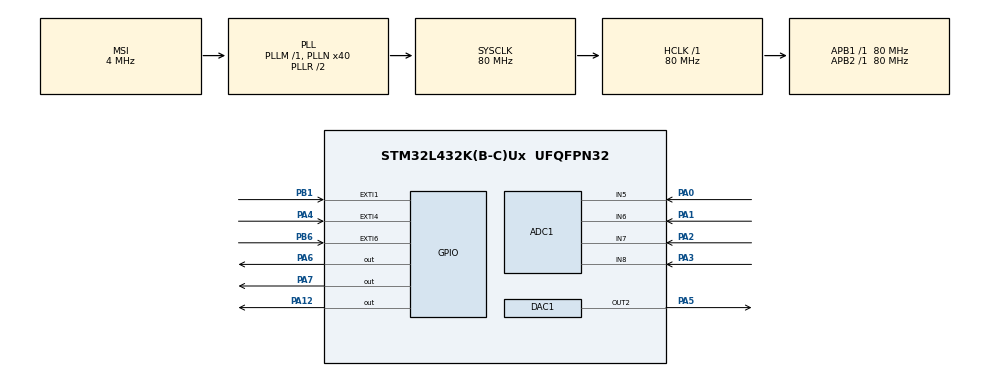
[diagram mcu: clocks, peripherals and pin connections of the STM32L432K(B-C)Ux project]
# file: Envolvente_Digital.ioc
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ADC1.Channel-1\#ChannelRegularConversion=ADC_CHANNEL_5
ADC1.Channel-3\#ChannelRegularConversion=ADC_CHANNEL_6
ADC1.Channel-4\#ChannelRegularConversion=ADC_CHANNEL_7
ADC1.Channel-5\#ChannelRegularConversion=ADC_CHANNEL_8
ADC1.ContinuousConvMode=DISABLE
ADC1.DMAContinuousRequests=DISABLE
ADC1.EOCSelection=ADC_EOC_SEQ_CONV
ADC1.NbrOfConversion=4
ADC1.NbrOfConversionFlag=1
ADC1.OffsetNumber-3\#ChannelRegularConversion=ADC_OFFSET_NONE
ADC1.OffsetNumber-4\#ChannelRegularConversion=ADC_OFFSET_NONE
ADC1.OffsetNumber-5\#ChannelRegularConversion=ADC_OFFSET_NONE
ADC1.Rank-3\#ChannelRegularConversion=2
ADC1.Rank-4\#ChannelRegularConversion=3
ADC1.Rank-5\#ChannelRegularConversion=4
ADC1.SamplingTime-3\#ChannelRegularConversion=ADC_SAMPLETIME_2CYCLES_5
ADC1.SamplingTime-4\#ChannelRegularConversion=ADC_SAMPLETIME_2CYCLES_5
ADC1.SamplingTime-5\#ChannelRegularConversion=ADC_SAMPLETIME_2CYCLES_5
ADC1.master=1
DAC1.DAC_Channel-DAC_OUT2=DAC_CHANNEL_2
Dma.ADC1.0.Direction=DMA_PERIPH_TO_MEMORY
Dma.ADC1.0.Instance=DMA1_Channel1
Dma.ADC1.0.MemDataAlignment=DMA_MDATAALIGN_HALFWORD
Dma.ADC1.0.MemInc=DMA_MINC_ENABLE
Dma.ADC1.0.Mode=DMA_CIRCULAR
Dma.ADC1.0.PeriphDataAlignment=DMA_PDATAALIGN_HALFWORD
Dma.ADC1.0.PeriphInc=DMA_PINC_DISABLE
Dma.ADC1.0.Priority=DMA_PRIORITY_LOW
Dma.Request0=ADC1
Mcu.Family=STM32L4
Mcu.Name=STM32L432K(B-C)Ux
Mcu.Package=UFQFPN32
NVIC.DMA1_Channel1_IRQn=true\:0\:0\:false\:false\:true\:false\:true\:true
NVIC.EXTI1_IRQn=true\:1\:0\:true\:false\:true\:true\:true\:true
NVIC.EXTI4_IRQn=true\:1\:0\:true\:false\:true\:true\:true\:true
NVIC.EXTI9_5_IRQn=true\:1\:0\:true\:false\:true\:true\:true\:true
NVIC.PriorityGroup=NVIC_PRIORITYGROUP_4
NVIC.TIM1_UP_TIM16_IRQn=true\:0\:0\:false\:false\:true\:true\:true\:true
PA0.Signal=ADCx_IN5
PA1.Signal=ADCx_IN6
PA12.Signal=GPIO_Output
PA2.Signal=ADCx_IN7
PA3.Signal=ADCx_IN8
PA4.GPIO_ModeDefaultEXTI=GPIO_MODE_IT_RISING_FALLING
PA4.GPIO_PuPd=GPIO_PULLDOWN
PA4.Signal=GPXTI4
PA5.Signal=COMP_DAC12_group
PA6.Signal=GPIO_Output
PA7.Signal=GPIO_Output
PB1.GPIO_ModeDefaultEXTI=GPIO_MODE_IT_RISING_FALLING
PB1.GPIO_PuPd=GPIO_PULLDOWN
PB1.Signal=GPXTI1
PB6.GPIO_ModeDefaultEXTI=GPIO_MODE_IT_RISING_FALLING
PB6.GPIO_PuPd=GPIO_PULLDOWN
PB6.Signal=GPXTI6
ProjectManager.HeapSize=0x200
ProjectManager.StackSize=0x400
ProjectManager.TargetToolchain=STM32CubeIDE
RCC.ADCFreq_Value=32000000
RCC.AHBFreq_Value=80000000
RCC.APB1Freq_Value=80000000
RCC.APB1TimFreq_Value=80000000
RCC.APB2Freq_Value=80000000
RCC.APB2TimFreq_Value=80000000
RCC.CortexFreq_Value=80000000
RCC.HCLKFreq_Value=80000000
RCC.HSE_VALUE=8000000
RCC.HSI48_VALUE=48000000
RCC.HSI_VALUE=16000000
RCC.LSE_VALUE=32768
RCC.MSI_VALUE=4000000
RCC.PLLN=40
RCC.PLLSAI1N=16
RCC.SYSCLKFreq_VALUE=80000000
RCC.SYSCLKSource=RCC_SYSCLKSOURCE_PLLCLK
RCC.USBFreq_Value=32000000
RCC.VCOOutputFreq_Value=160000000
SH.ADCx_IN5.0=ADC1_IN5,IN5-Single-Ended
SH.ADCx_IN6.0=ADC1_IN6,IN6-Single-Ended
SH.ADCx_IN7.0=ADC1_IN7,IN7-Single-Ended
SH.ADCx_IN8.0=ADC1_IN8,IN8-Single-Ended
SH.COMP_DAC12_group.0=DAC1_OUT2,DAC_OUT2
TIM1.Period=1000-1
TIM1.Prescaler=80-1
VP_TIM1_VS_ClockSourceINT.Mode=Internal
board=custom

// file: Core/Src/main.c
/* USER CODE BEGIN Header */
/**
  ******************************************************************************
  * @file           : main.c
  * @brief          : Main program body
  ******************************************************************************
  * @attention
  *
  * Copyright (c) 2024 STMicroelectronics.
  * All rights reserved.
  *
  * This software is licensed under terms that can be found in the LICENSE file
  * in the root directory of this software component.
  * If no LICENSE file comes with this software, it is provided AS-IS.
  *
  ******************************************************************************
  */
/* USER CODE END Header */
#include "main.h"

/* USER CODE BEGIN Includes */
#include "math.h"
/* USER CODE END Includes */

/* USER CODE BEGIN PTD */

typedef enum
{
	attack,
	decay,
	sustain,
	release,
	off
}etapas_t;

typedef enum
{
	lineal,
	exponencial,
}modo_t;

typedef enum
{
	envolvente,
	filtro
}tipo_t;

/* USER CODE END PTD */

ADC_HandleTypeDef hadc1;
DMA_HandleTypeDef hdma_adc1;

DAC_HandleTypeDef hdac1;

TIM_HandleTypeDef htim1;

/* USER CODE BEGIN PV */

// variables para env lineal
float t_a = 0;
float t_d = 0;
float v_s = 0;
float t_r = 0;
int flag_lineal = 0;
// variables para env exp
float r_a = 0;
float r_d = 0;
//float v_s = 0;
float r_r = 0;
int flag_exponencial = 0;

uint16_t adcValues[4];
etapas_t etapasL = off;
etapas_t etapasE = off;
modo_t modo = lineal;
tipo_t tipo = envolvente;

float b_a = 0;
float b_d = 0;
float b_r = 0;

int Gate = 0;

float x = 0;
float y = 0;

float env = 0;
int flag = 0;
float pendiente_d = 0;

//filtro
float fc = 0.0;
float k = 0.0;
float fs = 500000.0;
float wcd = 0.0;
float wca = 0.0;
float g = 0.0;
float ya = 0.0;
float ya_ant = 0.0;
float yb = 0.0;
float yb_ant = 0.0;
float yc = 0.0;
float yc_ant = 0.0;
float yd = 0.0;
float yd_ant1 = 0.0;
float yd_ant2 = 0.0;
float ys = 0.0;
int flag_filtro = 0.0;
float in = 0.0;

/* USER CODE END PV */

void SystemClock_Config(void);
static void MX_GPIO_Init(void);
static void MX_DMA_Init(void);
static void MX_ADC1_Init(void);
static void MX_DAC1_Init(void);
static void MX_TIM1_Init(void);
/* USER CODE BEGIN PFP */
float generador_rectas(float, float);
float generador_exp(float tau, float ini, char c);
/* USER CODE END PFP */

int main(void)
{

  /* MCU Configuration--------------------------------------------------------*/

  /* Reset of all peripherals, Initializes the Flash interface and the Systick. */
  HAL_Init();

  /* Configure the system clock */
  SystemClock_Config();

  /* Initialize all configured peripherals */
  MX_GPIO_Init();
  MX_DMA_Init();
  MX_ADC1_Init();
  MX_DAC1_Init();
  MX_TIM1_Init();
  /* USER CODE BEGIN 2 */

  	HAL_DAC_Start(&hdac1, DAC_CHANNEL_2);
  	HAL_TIM_Base_Start_IT(&htim1);

  	HAL_GPIO_WritePin(GPIOA, GPIO_PIN_7, GPIO_PIN_SET);
  	HAL_GPIO_WritePin(GPIOA, GPIO_PIN_12, GPIO_PIN_RESET);

  	if (HAL_GPIO_ReadPin(GPIOB, GPIO_PIN_6) == GPIO_PIN_SET)
  	{
  		tipo = envolvente;
  		//HAL_TIM_Base_Stop_IT(&htim2);
  		//HAL_TIM_Base_Start_IT(&htim1);
  	}
  	else
  	{
  		tipo = filtro;
  		//HAL_TIM_Base_Start_IT(&htim2);
  		//HAL_TIM_Base_Stop_IT(&htim1);

  	}

  	if (HAL_GPIO_ReadPin(GPIOB, GPIO_PIN_1) == GPIO_PIN_SET)
  	{
  		modo = lineal;
  	}
  	else
  	{
  		modo = exponencial;
  	}

  /* USER CODE END 2 */

  /* Infinite loop */
  while (1)
  {

    /* USER CODE BEGIN 3 */

	  if(tipo == envolvente)
	  {

		  if(modo == lineal)
		  {
			  switch(etapasL)
			  {
			  case attack:

				  float pendiente_a = 3.3/t_a;
				  b_a = 0;

				  if(flag == 1 && Gate == 1 )
				  {
					  env = generador_rectas(pendiente_a, b_a);

					  if(env >= 3.3)
					  {
						  x=0;
						  etapasL = decay;
					  }
					  else
					  {
						  HAL_DAC_SetValue(&hdac1, DAC_CHANNEL_2, DAC_ALIGN_12B_R, env*4095/3.3);
						  flag = 0;
					  }
				  }
				  if(flag == 1 && Gate == 0)
				  {
					  x=0;
					  v_s = env;
					  etapasL = release;
				  }

				  break;
			  case decay:

				  float pendiente_d = (v_s - 3.3)/t_d;
				  b_d = v_s - pendiente_d * t_d;

				  if(flag == 1 && Gate == 1)
				  {
					  env = generador_rectas(pendiente_d, b_d);

					  if(env <= v_s)
					  {
						  etapasL = sustain;
						  x = 0;
					  }
					  else
					  {
						  flag = 0;
						  HAL_DAC_SetValue(&hdac1, DAC_CHANNEL_2, DAC_ALIGN_12B_R, env*4095/3.3);
					  }
				  }
				  if(flag == 1 && Gate == 0)
				  {
					  x=0;
					  v_s = env;
					  etapasL = release;
				  }

				  break;
			  case sustain:

				  if(flag == 1)
				  {
					  if(Gate == 0)
					  {
						  etapasL = release;
						  x = 0;
					  }
					  else
					  {
						  HAL_ADC_Start_DMA(&hadc1,(uint32_t*)adcValues, 4);  // 4 canales
						  env = v_s;
						  HAL_DAC_SetValue(&hdac1, DAC_CHANNEL_2, DAC_ALIGN_12B_R, env*4095/3.3);
						  flag = 0;
					  }
				  }

				  break;
			  case release:

				  float pendiente_r = (0 - v_s)/t_r;
				  b_r = - pendiente_r * t_r;

				  if(flag == 1)
				  {
					  env = generador_rectas(pendiente_r, b_r);

					  if(env <=0)
					  {
						  etapasL = off;
						  x = 0;
						  if (flag_exponencial == 1)
						  {
							  flag_exponencial = 0;
							  modo = exponencial;
						  }
					  }
					  else
					  {
						  flag = 0;
						  HAL_DAC_SetValue(&hdac1, DAC_CHANNEL_2, DAC_ALIGN_12B_R, env*4095/3.3);
					  }
				  }
				  break;
			  case off:

				  if(Gate == 1)
				  {
					  etapasL = attack;
					  x = 0;
					  env = 0;
				  }
				  else
				  {
					  etapasL = off;
				  }

				  if (flag_exponencial == 1)
				  {
					  flag_exponencial = 0;
					  modo = exponencial;
				  }

				  break;
			  }
		  }
		  else if(modo == exponencial)
		  {
			  switch(etapasE)
				  {
				  case attack:

					  float tau_a = (2.2e-6)*r_a;

					  if(flag == 1 && Gate == 1)
					  {
						  env = generador_exp(tau_a, 0, 'a');

						  if(env >= 3.3)
						  {
							  etapasE = decay;
							  x = 0;
						  }
						  else
						  {
							  flag = 0;
							  HAL_DAC_SetValue(&hdac1, DAC_CHANNEL_2, DAC_ALIGN_12B_R, env*4095/3.3);
						  }
					  }
					  if(flag == 1 && Gate == 0)
					  {
						  x = 0;
						  v_s = env;
						  etapasE = release;
					  }

					  break;
				  case decay:

					  float tau_d = (2.2e-6)*r_d;

					  if(flag == 1)
					  {
						  env = generador_exp(tau_d, 3.3 ,'d');

						  if(env <= v_s)
						  {
							  etapasE = sustain;
							  x = 0;
						  }
						  else
						  {
							  flag = 0;
							  HAL_DAC_SetValue(&hdac1, DAC_CHANNEL_2, DAC_ALIGN_12B_R, env*4095/3.3);
						  }
					  }
					  if(flag == 1 && Gate == 0)
					  {
						  x = 0;
						  v_s = env;
						  etapasE = release;
					  }

					  break;
				  case sustain:

					  if(Gate == 0)
					  {
						  etapasE = release;
						  x = 0;
					  }
					  else
					  {
						  HAL_ADC_Start_DMA(&hadc1,(uint32_t*)adcValues, 4);  // 4 canales
						  env = v_s;
						  HAL_DAC_SetValue(&hdac1, DAC_CHANNEL_2, DAC_ALIGN_12B_R, env*4095/3.3);
						  etapasE = sustain;
					  }

					  break;
				  case release:

					  float tau_r = (2.2e-6)*r_r;

					  if(flag == 1)
					  {
						  env = generador_exp(tau_r, v_s, 'r');

						  if(env <= 0.005)
						  {
							  etapasE = off;
							  x = 0;
							  if (flag_lineal == 1)
							  {
								  flag_lineal = 0;
								  modo = lineal;
							  }
						  }
						  else
						  {
							  flag = 0;
							  HAL_DAC_SetValue(&hdac1, DAC_CHANNEL_2, DAC_ALIGN_12B_R, env*4095/3.3);
						  }
					  }

					  break;
				  case off:

					  if(Gate == 1)
					  {
						  etapasE = attack;
						  x = 0;
						  env = 0;
					  }
					  else
					  {
						  etapasE = off;
					  }

					  if (flag_lineal == 1)
					  {
						  flag_lineal = 0;
						  modo = lineal;
					  }

					  break;
				  }
		  }
	  }
	  else if(tipo == filtro)
	  {

	  }
  }
  /* USER CODE END 3 */
}

void SystemClock_Config(void)
{
  RCC_OscInitTypeDef RCC_OscInitStruct = {0};
  RCC_ClkInitTypeDef RCC_ClkInitStruct = {0};

  /** Configure the main internal regulator output voltage
  */
  if (HAL_PWREx_ControlVoltageScaling(PWR_REGULATOR_VOLTAGE_SCALE1) != HAL_OK)
  {
    Error_Handler();
  }

  /** Initializes the RCC Oscillators according to the specified parameters
  * in the RCC_OscInitTypeDef structure.
  */
  RCC_OscInitStruct.OscillatorType = RCC_OSCILLATORTYPE_MSI;
  RCC_OscInitStruct.MSIState = RCC_MSI_ON;
  RCC_OscInitStruct.MSICalibrationValue = 0;
  RCC_OscInitStruct.MSIClockRange = RCC_MSIRANGE_6;
  RCC_OscInitStruct.PLL.PLLState = RCC_PLL_ON;
  RCC_OscInitStruct.PLL.PLLSource = RCC_PLLSOURCE_MSI;
  RCC_OscInitStruct.PLL.PLLM = 1;
  RCC_OscInitStruct.PLL.PLLN = 40;
  RCC_OscInitStruct.PLL.PLLP = RCC_PLLP_DIV7;
  RCC_OscInitStruct.PLL.PLLQ = RCC_PLLQ_DIV2;
  RCC_OscInitStruct.PLL.PLLR = RCC_PLLR_DIV2;
  if (HAL_RCC_OscConfig(&RCC_OscInitStruct) != HAL_OK)
  {
    Error_Handler();
  }

  /** Initializes the CPU, AHB and APB buses clocks
  */
  RCC_ClkInitStruct.ClockType = RCC_CLOCKTYPE_HCLK|RCC_CLOCKTYPE_SYSCLK
                              |RCC_CLOCKTYPE_PCLK1|RCC_CLOCKTYPE_PCLK2;
  RCC_ClkInitStruct.SYSCLKSource = RCC_SYSCLKSOURCE_PLLCLK;
  RCC_ClkInitStruct.AHBCLKDivider = RCC_SYSCLK_DIV1;
  RCC_ClkInitStruct.APB1CLKDivider = RCC_HCLK_DIV1;
  RCC_ClkInitStruct.APB2CLKDivider = RCC_HCLK_DIV1;

  if (HAL_RCC_ClockConfig(&RCC_ClkInitStruct, FLASH_LATENCY_4) != HAL_OK)
  {
    Error_Handler();
  }
}

static void MX_ADC1_Init(void)
{

  ADC_ChannelConfTypeDef sConfig = {0};

  /** Common config
  */
  hadc1.Instance = ADC1;
  hadc1.Init.ClockPrescaler = ADC_CLOCK_ASYNC_DIV1;
  hadc1.Init.Resolution = ADC_RESOLUTION_12B;
  hadc1.Init.DataAlign = ADC_DATAALIGN_RIGHT;
  hadc1.Init.ScanConvMode = ADC_SCAN_ENABLE;
  hadc1.Init.EOCSelection = ADC_EOC_SEQ_CONV;
  hadc1.Init.LowPowerAutoWait = DISABLE;
  hadc1.Init.ContinuousConvMode = DISABLE;
  hadc1.Init.NbrOfConversion = 4;
  hadc1.Init.DiscontinuousConvMode = DISABLE;
  hadc1.Init.ExternalTrigConv = ADC_SOFTWARE_START;
  hadc1.Init.ExternalTrigConvEdge = ADC_EXTERNALTRIGCONVEDGE_NONE;
  hadc1.Init.DMAContinuousRequests = DISABLE;
  hadc1.Init.Overrun = ADC_OVR_DATA_PRESERVED;
  hadc1.Init.OversamplingMode = DISABLE;
  if (HAL_ADC_Init(&hadc1) != HAL_OK)
  {
    Error_Handler();
  }

  /** Configure Regular Channel
  */
  sConfig.Channel = ADC_CHANNEL_5;
  sConfig.Rank = ADC_REGULAR_RANK_1;
  sConfig.SamplingTime = ADC_SAMPLETIME_2CYCLES_5;
  sConfig.SingleDiff = ADC_SINGLE_ENDED;
  sConfig.OffsetNumber = ADC_OFFSET_NONE;
  sConfig.Offset = 0;
  if (HAL_ADC_ConfigChannel(&hadc1, &sConfig) != HAL_OK)
  {
    Error_Handler();
  }

  /** Configure Regular Channel
  */
  sConfig.Channel = ADC_CHANNEL_6;
  sConfig.Rank = ADC_REGULAR_RANK_2;
  if (HAL_ADC_ConfigChannel(&hadc1, &sConfig) != HAL_OK)
  {
    Error_Handler();
  }

  /** Configure Regular Channel
  */
  sConfig.Channel = ADC_CHANNEL_7;
  sConfig.Rank = ADC_REGULAR_RANK_3;
  if (HAL_ADC_ConfigChannel(&hadc1, &sConfig) != HAL_OK)
  {
    Error_Handler();
  }

  /** Configure Regular Channel
  */
  sConfig.Channel = ADC_CHANNEL_8;
  sConfig.Rank = ADC_REGULAR_RANK_4;
  if (HAL_ADC_ConfigChannel(&hadc1, &sConfig) != HAL_OK)
  {
    Error_Handler();
  }

}

static void MX_DAC1_Init(void)
{

  DAC_ChannelConfTypeDef sConfig = {0};

  /** DAC Initialization
  */
  hdac1.Instance = DAC1;
  if (HAL_DAC_Init(&hdac1) != HAL_OK)
  {
    Error_Handler();
  }

  /** DAC channel OUT2 config
  */
  sConfig.DAC_SampleAndHold = DAC_SAMPLEANDHOLD_DISABLE;
  sConfig.DAC_Trigger = DAC_TRIGGER_NONE;
  sConfig.DAC_OutputBuffer = DAC_OUTPUTBUFFER_ENABLE;
  sConfig.DAC_ConnectOnChipPeripheral = DAC_CHIPCONNECT_DISABLE;
  sConfig.DAC_UserTrimming = DAC_TRIMMING_FACTORY;
  if (HAL_DAC_ConfigChannel(&hdac1, &sConfig, DAC_CHANNEL_2) != HAL_OK)
  {
    Error_Handler();
  }

}

static void MX_TIM1_Init(void)
{

  TIM_ClockConfigTypeDef sClockSourceConfig = {0};
  TIM_MasterConfigTypeDef sMasterConfig = {0};

  htim1.Instance = TIM1;
  htim1.Init.Prescaler = 80-1;
  htim1.Init.CounterMode = TIM_COUNTERMODE_UP;
  htim1.Init.Period = 1000-1;
  htim1.Init.ClockDivision = TIM_CLOCKDIVISION_DIV1;
  htim1.Init.RepetitionCounter = 0;
  htim1.Init.AutoReloadPreload = TIM_AUTORELOAD_PRELOAD_DISABLE;
  if (HAL_TIM_Base_Init(&htim1) != HAL_OK)
  {
    Error_Handler();
  }
  sClockSourceConfig.ClockSource = TIM_CLOCKSOURCE_INTERNAL;
  if (HAL_TIM_ConfigClockSource(&htim1, &sClockSourceConfig) != HAL_OK)
  {
    Error_Handler();
  }
  sMasterConfig.MasterOutputTrigger = TIM_TRGO_RESET;
  sMasterConfig.MasterOutputTrigger2 = TIM_TRGO2_RESET;
  sMasterConfig.MasterSlaveMode = TIM_MASTERSLAVEMODE_DISABLE;
  if (HAL_TIMEx_MasterConfigSynchronization(&htim1, &sMasterConfig) != HAL_OK)
  {
    Error_Handler();
  }

}

static void MX_DMA_Init(void)
{

  /* DMA controller clock enable */
  __HAL_RCC_DMA1_CLK_ENABLE();

  /* DMA interrupt init */
  /* DMA1_Channel1_IRQn interrupt configuration */
  HAL_NVIC_SetPriority(DMA1_Channel1_IRQn, 0, 0);
  HAL_NVIC_EnableIRQ(DMA1_Channel1_IRQn);

}

static void MX_GPIO_Init(void)
{
  GPIO_InitTypeDef GPIO_InitStruct = {0};

  /* GPIO Ports Clock Enable */
  __HAL_RCC_GPIOA_CLK_ENABLE();
  __HAL_RCC_GPIOB_CLK_ENABLE();

  /*Configure GPIO pin Output Level */
  HAL_GPIO_WritePin(GPIOA, GPIO_PIN_6|GPIO_PIN_7|GPIO_PIN_12, GPIO_PIN_RESET);

  /*Configure GPIO pin : PA4 */
  GPIO_InitStruct.Pin = GPIO_PIN_4;
  GPIO_InitStruct.Mode = GPIO_MODE_IT_RISING_FALLING;
  GPIO_InitStruct.Pull = GPIO_PULLDOWN;
  HAL_GPIO_Init(GPIOA, &GPIO_InitStruct);

  /*Configure GPIO pins : PA6 PA7 PA12 */
  GPIO_InitStruct.Pin = GPIO_PIN_6|GPIO_PIN_7|GPIO_PIN_12;
  GPIO_InitStruct.Mode = GPIO_MODE_OUTPUT_PP;
  GPIO_InitStruct.Pull = GPIO_NOPULL;
  GPIO_InitStruct.Speed = GPIO_SPEED_FREQ_LOW;
  HAL_GPIO_Init(GPIOA, &GPIO_InitStruct);

  /*Configure GPIO pins : PB1 PB6 */
  GPIO_InitStruct.Pin = GPIO_PIN_1|GPIO_PIN_6;
  GPIO_InitStruct.Mode = GPIO_MODE_IT_RISING_FALLING;
  GPIO_InitStruct.Pull = GPIO_PULLDOWN;
  HAL_GPIO_Init(GPIOB, &GPIO_InitStruct);

  /* EXTI interrupt init*/
  HAL_NVIC_SetPriority(EXTI1_IRQn, 1, 0);
  HAL_NVIC_EnableIRQ(EXTI1_IRQn);

  HAL_NVIC_SetPriority(EXTI4_IRQn, 1, 0);
  HAL_NVIC_EnableIRQ(EXTI4_IRQn);

  HAL_NVIC_SetPriority(EXTI9_5_IRQn, 1, 0);
  HAL_NVIC_EnableIRQ(EXTI9_5_IRQn);

}

/* USER CODE BEGIN 4 */

float generador_rectas(float m, float b)
{

	y = m*x+b;

	return y;
}

float generador_exp(float tau, float ini, char c)
{

	if(c == 'a')
	{
		y = 4.95*(1-exp(-(1/tau)*x));
	}
	else if(c == 'd')
	{
		y = v_s - (v_s - ini)*exp(-(1/tau)*x);
	}
	else
	{
		y = ini*exp(-(1/tau)*x);
	}

	return y;
}

void HAL_GPIO_EXTI_Callback(uint16_t GPIO_Pin)
{

	if (GPIO_Pin == GPIO_PIN_4)
	{
		//HAL_Delay(10);

		if(HAL_GPIO_ReadPin(GPIOA, GPIO_PIN_4) == GPIO_PIN_SET)
		{
			Gate = 1;
			HAL_GPIO_WritePin(GPIOA, GPIO_PIN_12, GPIO_PIN_SET);    //GATE (A5)
			HAL_GPIO_WritePin(GPIOA, GPIO_PIN_7, GPIO_PIN_RESET);  //TRIG (A6)
			HAL_Delay(10);
			HAL_GPIO_WritePin(GPIOA, GPIO_PIN_7, GPIO_PIN_SET);
		}
		else
		{
			Gate = 0;
			HAL_GPIO_WritePin(GPIOA, GPIO_PIN_12, GPIO_PIN_RESET);
		}

		HAL_ADC_Start_DMA(&hadc1,(uint32_t*)adcValues, 4);  // 4 canales

	}

	if(GPIO_Pin == GPIO_PIN_1)
	{
		if(HAL_GPIO_ReadPin(GPIOB, GPIO_PIN_1) == GPIO_PIN_SET)
		{
			flag_lineal = 1;
			flag_exponencial = 0;
		}
		else
		{
			flag_exponencial = 1;
			flag_lineal = 0;
		}
	}

	if(GPIO_Pin == GPIO_PIN_6)
		{
			if(HAL_GPIO_ReadPin(GPIOB, GPIO_PIN_6) == GPIO_PIN_SET)
			{
				tipo = envolvente;
			}
			else
			{

			}
		}
}

void HAL_TIM_PeriodElapsedCallback(TIM_HandleTypeDef *htim)
{
    if (htim->Instance == TIM1)
    {
    	flag = 1;
        x += 0.002;
        HAL_GPIO_TogglePin(GPIOA, GPIO_PIN_6);
    }
}

void HAL_ADC_ConvCpltCallback(ADC_HandleTypeDef* hadc)
{
    if (hadc->Instance == ADC1)
    {
    	if(tipo == envolvente)
    	{
    		if (modo == lineal)
    		{
    			t_a = adcValues[0]*(3.02/4095);  // attack
    			if(t_a <= 0.4)
    			{
    				t_a = 0.4;
    			}
    			t_d = adcValues[1]*(9.5/4095);  // decay
    			if(t_d <= 0.4)
    			{
    				t_d = 0.4;
    			}
    			v_s = adcValues[2]*(3.3/4095);  // sustain
    			t_r = adcValues[3]*(11.0/4095);  // Release
    			if(t_r <= 0.7)
    			{
    				t_r = 0.7;
    			}
    		}
    		if (modo == exponencial)
    		{
    			r_a = adcValues[0]*(1400000.0/4095);  // attack
    			if(r_a <= 33100.0)
    			{
    				r_a = 33100.0;
    			}
    			r_d = adcValues[1]*(1000000.0/4095);  // decay
    			if(r_d <= 20000.0)
    			{
    				r_d = 20000.0;

    			}
    			v_s = adcValues[2]*(3.3/4095);  // sustain
    			r_r = adcValues[3]*(1600000.0/4095);  // Release
    			if(r_r <= 1000.0)
    			{
    				r_r = 1000.0;
    			}
    		}
    	}
    }
}

/* USER CODE END 4 */

void Error_Handler(void)
{
  __disable_irq();
  while (1)
  {
  }
}
